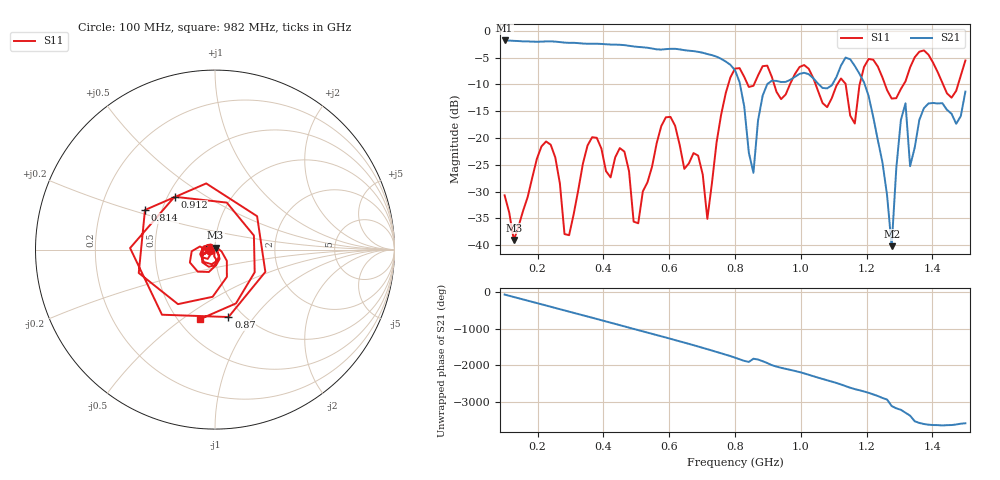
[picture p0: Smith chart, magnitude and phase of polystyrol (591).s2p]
! NanoVNA-App
! Date: 2025-09-25 15:34:29
! Start: 100MHz Stop: 1,5GHz Points: 101
! S-Parameter data: F S11 S21 S12 S22
# Hz S RI R 50
!  Frequency  S11_Real  S11_Imag  S21_Real  S21_Imag  S12_Real  S12_Imag  S22_Real  S22_Imag
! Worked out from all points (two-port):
!   101 points, 100 MHz to 1.5 GHz, reference 50 ohm
!   highest |S21| = -1.80 dB at 100 MHz (marker M1); lowest = -40.2 dB at 1.276 GHz (marker M2)
!   |S21| within 3 dB of the highest: start of sweep to 742.9 MHz
!   lowest |S11| = -39.1 dB at 128 MHz (marker M3), VSWR 1.02, Z = 50.3 + j1.07 ohm
!   |S11| at or under -10 dB: start of sweep to 779.7 MHz; 1.045 GHz to 1.111 GHz (65.77 MHz wide, 6.1 % of centre); 1.256 GHz to 1.312 GHz (56.67 MHz wide, 4.41 % of centre) (the widest 3 of 7)
!   S12 and S22 are empty: the file has one direction only
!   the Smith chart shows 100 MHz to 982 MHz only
!   S11 on the Smith chart (normalised r, x): 100 MHz: 0.94, -0.01; 814 MHz: 0.40, +0.22; 870 MHz: 0.86, -0.75; 912 MHz: 0.54, +0.37; 982 MHz: 0.64, -0.59
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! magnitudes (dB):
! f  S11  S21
! 100 MHz  -30.7  -1.8
! 128 MHz  -39.1  -1.9
! 212 MHz  -21.6  -2.0
! 282 MHz  -37.9  -2.2
! 338 MHz  -24.8  -2.4
! 464 MHz  -22.5  -2.7
! 506 MHz  -35.9  -3.0
! 576 MHz  -17.8  -3.5
! 716 MHz  -35.1  -4.3
! 800 MHz  -7.0  -7.4
! 814 MHz  -7.0  -9.6
! 856 MHz  -10.3  -26.5
! 870 MHz  -8.3  -16.7
! 912 MHz  -8.6  -9.3
! 982 MHz  -8.1  -8.6
! 1.038 GHz  -8.8  -8.9
! 1.164 GHz  -17.3  -6.6
! 1.192 GHz  -6.8  -9.6
! 1.276 GHz  -12.6  -40.2
! 1.318 GHz  -9.4  -13.5
! 1.332 GHz  -6.8  -25.3
! 1.5 GHz  -5.5  -11.3
